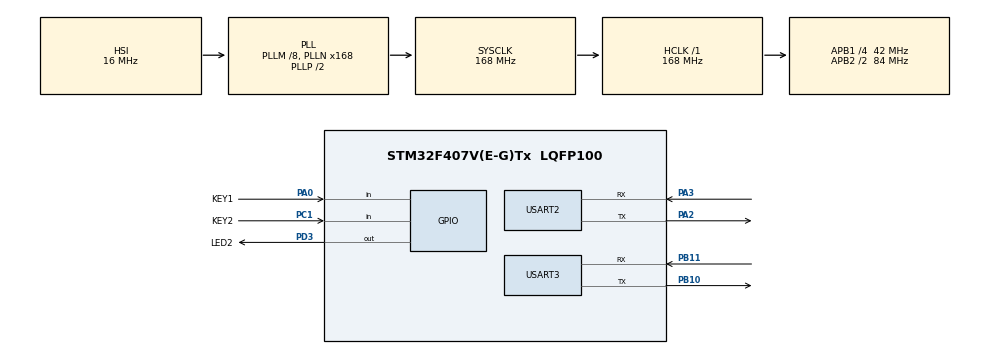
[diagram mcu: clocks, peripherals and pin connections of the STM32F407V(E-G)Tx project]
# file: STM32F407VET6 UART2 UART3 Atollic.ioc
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Mcu.Family=STM32F4
Mcu.Name=STM32F407V(E-G)Tx
Mcu.Package=LQFP100
NVIC.PriorityGroup=NVIC_PRIORITYGROUP_4
NVIC.TIM1_UP_TIM10_IRQn=true\:0\:0\:false\:false\:true\:false\:true
NVIC.TimeBase=TIM1_UP_TIM10_IRQn
NVIC.TimeBaseIP=TIM1
NVIC.USART2_IRQn=true\:0\:0\:false\:false\:true\:true\:true
NVIC.USART3_IRQn=true\:0\:0\:false\:false\:true\:true\:true
PA0-WKUP.GPIO_Label=KEY1
PA0-WKUP.Signal=GPIO_Input
PA13.Mode=Serial_Wire
PA13.Signal=SYS_JTMS-SWDIO
PA14.Mode=Serial_Wire
PA14.Signal=SYS_JTCK-SWCLK
PA2.Mode=Asynchronous
PA2.Signal=USART2_TX
PA3.Mode=Asynchronous
PA3.Signal=USART2_RX
PB10.Mode=Asynchronous
PB10.Signal=USART3_TX
PB11.Mode=Asynchronous
PB11.Signal=USART3_RX
PC1.GPIO_Label=KEY2
PC1.GPIO_PuPd=GPIO_PULLDOWN
PC1.Signal=GPIO_Input
PD3.GPIO_Label=LED2
PD3.Signal=GPIO_Output
PH0-OSC_IN.Mode=HSE-External-Oscillator
PH0-OSC_IN.Signal=RCC_OSC_IN
PH1-OSC_OUT.Mode=HSE-External-Oscillator
PH1-OSC_OUT.Signal=RCC_OSC_OUT
ProjectManager.HeapSize=0x2000
ProjectManager.StackSize=0x4000
ProjectManager.TargetToolchain=TrueSTUDIO
RCC.48MHZClocksFreq_Value=84000000
RCC.AHBFreq_Value=168000000
RCC.APB1CLKDivider=RCC_HCLK_DIV4
RCC.APB1Freq_Value=42000000
RCC.APB1TimFreq_Value=84000000
RCC.APB2CLKDivider=RCC_HCLK_DIV2
RCC.APB2Freq_Value=84000000
RCC.APB2TimFreq_Value=168000000
RCC.CortexFreq_Value=168000000
RCC.HCLKFreq_Value=168000000
RCC.HSE_VALUE=25000000
RCC.HSI_VALUE=16000000
RCC.LSE_VALUE=32768
RCC.PLLM=8
RCC.PLLN=168
RCC.SYSCLKFreq_VALUE=168000000
RCC.SYSCLKSource=RCC_SYSCLKSOURCE_PLLCLK
RCC.VCOOutputFreq_Value=336000000
USART2.VirtualMode=VM_ASYNC
USART3.VirtualMode=VM_ASYNC
VP_SYS_VS_tim1.Mode=TIM1
board=custom

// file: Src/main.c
/* USER CODE BEGIN Header */
/**
 ******************************************************************************
 * @file           : main.c
 * @brief          : Main program body
 ******************************************************************************
 * @attention
 *
 * <h2><center>&copy; Copyright (c) 2019 STMicroelectronics.
 * All rights reserved.</center></h2>
 *
 * This software component is licensed by ST under BSD 3-Clause license,
 * the "License"; You may not use this file except in compliance with the
 * License. You may obtain a copy of the License at:
 *                        opensource.org/licenses/BSD-3-Clause
 *
 ******************************************************************************
 */
/* USER CODE END Header */

#include "main.h"

UART_HandleTypeDef huart2;
UART_HandleTypeDef huart3;

void SystemClock_Config(void);
static void MX_GPIO_Init(void);
static void MX_USART2_UART_Init(void);
static void MX_USART3_UART_Init(void);

/* USER CODE BEGIN 0 */
volatile uint8_t tx[100];
volatile uint8_t rx[100];
uint8_t rx1[100];

uint8_t tx1[100];

volatile uint8_t txCmpl=0;
volatile uint8_t rxCmpl=0;
volatile uint8_t toTransfer=0;
volatile uint8_t wasTransferred=0;

//volatile uint16_t rxCount=0;
volatile uint16_t toRead=0;
volatile uint16_t rxPos2=0;
volatile uint16_t rxPos1=0;
volatile uint16_t wasReadden=0;
uint8_t* stateUART(HAL_UART_StateTypeDef State);

/* USER CODE END 0 */

int main(void)
{

	/* MCU Configuration--------------------------------------------------------*/

	/* Reset of all peripherals, Initializes the Flash interface and the Systick. */
	HAL_Init();

	/* Configure the system clock */
	SystemClock_Config();

	/* Initialize all configured peripherals */
	MX_GPIO_Init();
	MX_USART2_UART_Init();
	MX_USART3_UART_Init();

	/* Infinite loop */
	/* USER CODE BEGIN WHILE */
	HAL_StatusTypeDef res;
	uint8_t jj=0;

	HAL_Delay(10);

	rxCmpl=0;
	toRead=1;
	wasReadden=0;
	rxPos1=0;
	rxPos2=0;

	// всегда сначала надо подготовить чтение
	if(res=HAL_UART_Receive_IT(&huart3, (uint8_t *)rx, toRead) == HAL_OK)
		; //printf("HAL_OK\n");
	else if(res = HAL_ERROR)
		printf("< HAL_ERROR\n");
	else  if(res = HAL_BUSY)
		printf("< HAL_BUSY\n");

	for(int ii=0; ii< sizeof(tx); ii++)
		tx[ii]=ii;

	while (1)
	{
		/* USER CODE END WHILE */

		/* USER CODE BEGIN 3 */

		if(txCmpl == 1)
		{
			txCmpl = 0;
			printf("=> toTransfer=%d wasTransferred=%d \n",toTransfer,wasTransferred);

			printf("-->  ");
			for(uint8_t ii=0; ii < wasTransferred; ii++)
				printf("0x%.2X ",tx[ii]);
			printf("\n");
			wasTransferred=0;

		}
		else if(HAL_GPIO_ReadPin(KEY1_GPIO_Port, KEY1_Pin) == GPIO_PIN_SET)
		{
			HAL_Delay(1000); // это чтобы дребезга не было

			printf("\n ---- %d -----\n",jj++);

			/*if(huart3.RxState == HAL_UART_STATE_BUSY_RX) // это нормально , была запущена HAL_UART_Receive_IT
			{
				if(huart3.RxXferSize >1 & (huart3.RxXferCount < huart3.RxXferSize))
				// часть предыдущего принята ,а часть еще нет  : еще не все байты приняты
				// это тоже нормально , т.к. это нас не волнует, все-равно все байты будут приняты по одному
				{
					printf("UART3 get read RxXferCount=%d RxXferSize=%d wasReadden=%d\n",huart3.RxXferCount,huart3.RxXferSize,wasReadden);
					printf("Lock=%d\n",huart3.Lock);
					printf("RxState=%.2X\n",huart3.RxState);

					rxCmpl = 0;
					toRead=1;//huart3.RxXferCount;
					//wasReadden=0;
					if(res=HAL_UART_Receive_IT(&huart3, (uint8_t *)(rx+(uint8_t)wasReadden), (uint16_t)toRead) == HAL_OK)
						;//printf("HAL_OK\n");
					else if(res = HAL_ERROR)
					{
						printf("< 2 HAL_ERROR %.2X state=%s\n",huart3.ErrorCode,stateUART(huart3.RxState));
					}
					else  if(res = HAL_BUSY)
						printf("< 2 HAL_BUSY\n");
					//HAL_Delay(1);

					continue; // давайте-ка дождемся приехода всех байт сначала
				}
			}*/

			// посылаем данные
			txCmpl = 0;
			toTransfer=33;
			wasTransferred=0;
			wasReadden=0;

			if(res=HAL_UART_Transmit_IT(&huart2, (uint8_t *)tx, toTransfer) == HAL_OK)
				;//printf("HAL_OK\n");
			else if(res = HAL_ERROR)
				printf("> HAL_ERROR\n");
			else  if(res = HAL_BUSY)
				printf("> HAL_BUSY\n");

			// Enable the USART Receive Not Empty interrupt

		}
		else if(rxPos2 != rxPos1) // прием всегда в приоритете
		// значит есть необработанные принятые байты
		{
			printf("<= toRead=%d rxPos1=%d rxPos2=%d\n",toRead,rxPos1,rxPos2);

			printf("<-- ");

			if(rxPos1 > rxPos2) // читаем хвост
			{
				for(uint8_t ii=rxPos1; ii < sizeof(rx1); ii++)
				{
					printf(" 0x%.2X ",rx1[rxPos2+ii]);
					wasReadden++;
				}
				rxPos1=0;
			}

			while(rxPos1 < rxPos2) // догоняем маркер rxPos2
			{
				printf(" 0x%.2X ",rx1[rxPos1++]);
				wasReadden++;
			}

			printf("\n");

		}
		else
		{
			//HAL_Delay(1);//printf("");
		}

		HAL_Delay(1);
	}
	/* USER CODE END 3 */
}

void SystemClock_Config(void)
{
	RCC_OscInitTypeDef RCC_OscInitStruct = {0};
	RCC_ClkInitTypeDef RCC_ClkInitStruct = {0};

	/** Configure the main internal regulator output voltage
	 */
	__HAL_RCC_PWR_CLK_ENABLE();
	__HAL_PWR_VOLTAGESCALING_CONFIG(PWR_REGULATOR_VOLTAGE_SCALE1);
	/** Initializes the CPU, AHB and APB busses clocks
	 */
	RCC_OscInitStruct.OscillatorType = RCC_OSCILLATORTYPE_HSI;
	RCC_OscInitStruct.HSIState = RCC_HSI_ON;
	RCC_OscInitStruct.HSICalibrationValue = RCC_HSICALIBRATION_DEFAULT;
	RCC_OscInitStruct.PLL.PLLState = RCC_PLL_ON;
	RCC_OscInitStruct.PLL.PLLSource = RCC_PLLSOURCE_HSI;
	RCC_OscInitStruct.PLL.PLLM = 8;
	RCC_OscInitStruct.PLL.PLLN = 168;
	RCC_OscInitStruct.PLL.PLLP = RCC_PLLP_DIV2;
	RCC_OscInitStruct.PLL.PLLQ = 4;
	if (HAL_RCC_OscConfig(&RCC_OscInitStruct) != HAL_OK)
	{
		Error_Handler();
	}
	/** Initializes the CPU, AHB and APB busses clocks
	 */
	RCC_ClkInitStruct.ClockType = RCC_CLOCKTYPE_HCLK|RCC_CLOCKTYPE_SYSCLK
			|RCC_CLOCKTYPE_PCLK1|RCC_CLOCKTYPE_PCLK2;
	RCC_ClkInitStruct.SYSCLKSource = RCC_SYSCLKSOURCE_PLLCLK;
	RCC_ClkInitStruct.AHBCLKDivider = RCC_SYSCLK_DIV1;
	RCC_ClkInitStruct.APB1CLKDivider = RCC_HCLK_DIV4;
	RCC_ClkInitStruct.APB2CLKDivider = RCC_HCLK_DIV2;

	if (HAL_RCC_ClockConfig(&RCC_ClkInitStruct, FLASH_LATENCY_5) != HAL_OK)
	{
		Error_Handler();
	}
}

static void MX_USART2_UART_Init(void)
{

	huart2.Instance = USART2;
	huart2.Init.BaudRate = 115200;
	huart2.Init.WordLength = UART_WORDLENGTH_8B;
	huart2.Init.StopBits = UART_STOPBITS_1;
	huart2.Init.Parity = UART_PARITY_NONE;
	huart2.Init.Mode = UART_MODE_TX_RX;
	huart2.Init.HwFlowCtl = UART_HWCONTROL_NONE;
	huart2.Init.OverSampling = UART_OVERSAMPLING_16;
	if (HAL_UART_Init(&huart2) != HAL_OK)
	{
		Error_Handler();
	}

}

static void MX_USART3_UART_Init(void)
{

	huart3.Instance = USART3;
	huart3.Init.BaudRate = 115200;
	huart3.Init.WordLength = UART_WORDLENGTH_8B;
	huart3.Init.StopBits = UART_STOPBITS_1;
	huart3.Init.Parity = UART_PARITY_NONE;
	huart3.Init.Mode = UART_MODE_TX_RX;
	huart3.Init.HwFlowCtl = UART_HWCONTROL_NONE;
	huart3.Init.OverSampling = UART_OVERSAMPLING_16;
	if (HAL_UART_Init(&huart3) != HAL_OK)
	{
		Error_Handler();
	}

}

static void MX_GPIO_Init(void)
{
	GPIO_InitTypeDef GPIO_InitStruct = {0};

	/* GPIO Ports Clock Enable */
	__HAL_RCC_GPIOH_CLK_ENABLE();
	__HAL_RCC_GPIOC_CLK_ENABLE();
	__HAL_RCC_GPIOA_CLK_ENABLE();
	__HAL_RCC_GPIOB_CLK_ENABLE();
	__HAL_RCC_GPIOD_CLK_ENABLE();

	/*Configure GPIO pin Output Level */
	HAL_GPIO_WritePin(LED2_GPIO_Port, LED2_Pin, GPIO_PIN_RESET);

	/*Configure GPIO pin : KEY2_Pin */
	GPIO_InitStruct.Pin = KEY2_Pin;
	GPIO_InitStruct.Mode = GPIO_MODE_INPUT;
	GPIO_InitStruct.Pull = GPIO_PULLDOWN;
	HAL_GPIO_Init(KEY2_GPIO_Port, &GPIO_InitStruct);

	/*Configure GPIO pin : KEY1_Pin */
	GPIO_InitStruct.Pin = KEY1_Pin;
	GPIO_InitStruct.Mode = GPIO_MODE_INPUT;
	GPIO_InitStruct.Pull = GPIO_NOPULL;
	HAL_GPIO_Init(KEY1_GPIO_Port, &GPIO_InitStruct);

	/*Configure GPIO pin : LED2_Pin */
	GPIO_InitStruct.Pin = LED2_Pin;
	GPIO_InitStruct.Mode = GPIO_MODE_OUTPUT_PP;
	GPIO_InitStruct.Pull = GPIO_NOPULL;
	GPIO_InitStruct.Speed = GPIO_SPEED_FREQ_LOW;
	HAL_GPIO_Init(LED2_GPIO_Port, &GPIO_InitStruct);

}

/* USER CODE BEGIN 4 */
void HAL_UART_TxCpltCallback(UART_HandleTypeDef *huart)
{
	if (huart-> Instance == USART2)
	{
		uint16_t TxXferCount=huart->TxXferCount;
		uint16_t TxXferSize=huart->TxXferSize;

		if(TxXferSize == 0 ) // какая-то ошибка
		{
			//printf(". HAL_UART_TxCpltCallback count=%d  size=%d \n",count,size);
			HAL_UART_Transmit_IT(huart, (uint8_t *)(tx),toTransfer);

		}
		else if (TxXferSize > 0 & TxXferCount < TxXferSize)
		{
			for(int ii=0; ii<  (TxXferSize-TxXferCount); ii++)
				tx1[wasTransferred++]=tx[ii];

			if(TxXferCount>0)
				HAL_UART_Transmit_IT(huart, (uint8_t *)(tx+TxXferSize-TxXferCount),TxXferCount);
			else
				txCmpl=1;

			//printf("USART2 HAL_UART_TxCpltCallback TxXferCount=%d  TxXferSize=%d \n",count,size);
		}
	}
}

void HAL_UART_RxCpltCallback(UART_HandleTypeDef *huart)
{
	// ВАЖНО , ЧТОБЫ HAL_UART_RxCpltCallback завершилась до прихода следующего байта !!!
	// точнее пока следующий байт приходит , у нас еще есть время, а вот следующий за следующим уже начнет затирать перед ним
	// По-этому все здесь делаем быстро !
	// Иначе ...

	if (huart-> Instance == USART3)
	{
		uint16_t RxXferCount=huart->RxXferCount;
		uint16_t RxXferSize=huart->RxXferSize;

		//printf("USART2 HAL_UART_RxCpltCallback count=%d  size=%d \n",count,size);

		if(RxXferSize == 0) // похоже на сбой
		{
			HAL_UART_Receive_IT(huart, (uint8_t *)(rx),toRead);
		}
		else if(RxXferSize > 0 && RxXferCount < RxXferSize)
		{
			for(int ii=0; ii<  (RxXferSize-RxXferCount); ii++)
			{
				if(rxPos2 == sizeof(rx1))
					rxPos2=0;

				rx1[rxPos2++]=rx[ii];
			}

			if(RxXferCount>0)
				HAL_UART_Receive_IT(huart, (uint8_t *)(rx+RxXferSize-RxXferCount),RxXferCount);
			else
			{
				rxCmpl=1;
				HAL_UART_Receive_IT(huart, (uint8_t *)(rx),toRead);
			}
		}
	}
}

void HAL_UART_ErrorCallback(UART_HandleTypeDef *huart)
{
	if (huart-> Instance == USART2)
	{
		uint16_t TxXferCount=huart->TxXferCount;
		uint16_t TxXferSize=huart->TxXferSize;
		printf("> HAL_UART_ErrorCallback USART2\n");
		printf("> TxXferCount=%d TxXferSize=%d\n",TxXferCount,TxXferSize);
	}
	else if (huart-> Instance == USART3)
	{
		uint16_t RxXferCount=huart->RxXferCount;
		uint16_t RxXferSize=huart->RxXferSize;
		printf("< HAL_UART_ErrorCallback USART3\n");
		printf("< RxXferCount=%d RxXferSize=%d\n",RxXferCount,RxXferSize);
		HAL_UART_Receive_IT(huart, (uint8_t *)(rx+RxXferSize-RxXferCount),RxXferCount);
		// проблема в приемном буфере, ПЕРЕПОЛНЕНИЕ, не все вытащили ДО прихода следующей пачки данных
	}

}
void HAL_UART_AbortReceiveCpltCallback(UART_HandleTypeDef *huart)
{
	/*if (huart-> Instance == USART2)
	{*/
	printf("HAL_UART_AbortReceiveCpltCallback \n");
	//}
}
void HAL_UART_AbortTransmitCpltCallback(UART_HandleTypeDef *huart)
{
	/*if (huart-> Instance == USART2)
	{*/
	printf("HAL_UART_AbortTransmitCpltCallback \n");
	//}
}
void HAL_UART_AbortCpltCallback(UART_HandleTypeDef *huart)
{
	/*if (huart-> Instance == USART2)
	{*/
	printf("HAL_UART_AbortCpltCallback \n");
	//}
}

uint8_t* stateUART(HAL_UART_StateTypeDef State)
{
	switch(State)
	{
	case HAL_UART_STATE_RESET: 		return "HAL_UART_STATE_RESET";
	case HAL_UART_STATE_READY: 		return "HAL_UART_STATE_READY";
	case HAL_UART_STATE_BUSY: 		return "HAL_UART_STATE_BUSY";
	case HAL_UART_STATE_BUSY_TX: 	return "HAL_UART_STATE_BUSY_TX";
	case HAL_UART_STATE_BUSY_RX: 	return "HAL_UART_STATE_BUSY_RX";
	case HAL_UART_STATE_BUSY_TX_RX: return "HAL_UART_STATE_BUSY_TX_RX";
	case HAL_UART_STATE_TIMEOUT: 	return "HAL_UART_STATE_TIMEOUT";
	case HAL_UART_STATE_ERROR: 		return "HAL_UART_STATE_ERROR";
	default : 						return "?????";
	}
	return "????";
}

/* USER CODE END 4 */

void HAL_TIM_PeriodElapsedCallback(TIM_HandleTypeDef *htim)
{
	if (htim->Instance == TIM1) {
		HAL_IncTick();
	}
}

void Error_Handler(void)
{
}

/************************ (C) COPYRIGHT STMicroelectronics *****END OF FILE****/
